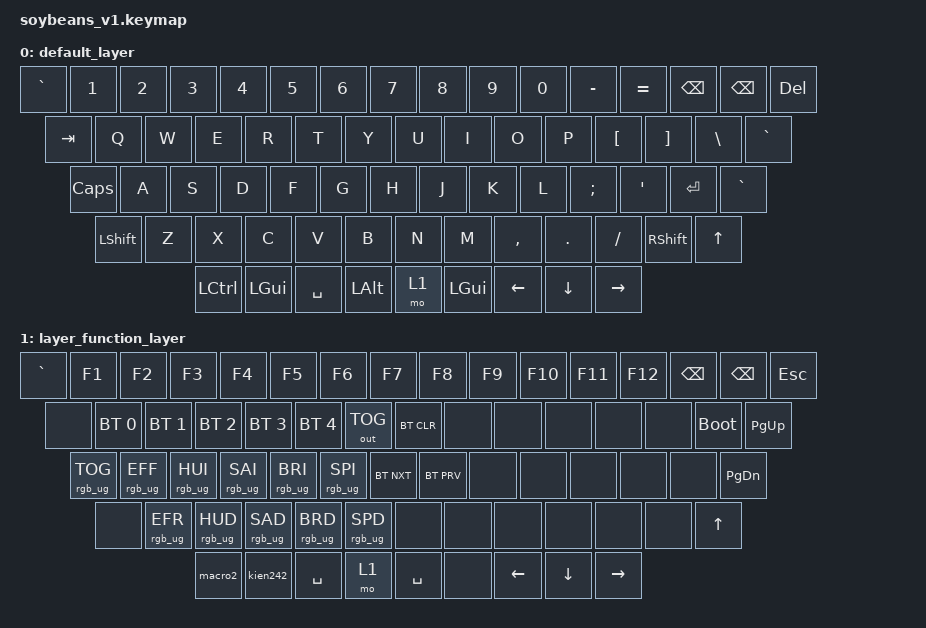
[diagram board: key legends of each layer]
/*
 * Copyright (c) 2020 The ZMK Contributors
 *
 * SPDX-License-Identifier: MIT
 */
/* THIS FILE WAS GENERATED!
 *
 * This file was generated automatically. You may or may not want to
 * edit it directly.
 */

#include <behaviors.dtsi>
#include <dt-bindings/zmk/keys.h>
#include <dt-bindings/zmk/bt.h>
#include <dt-bindings/zmk/outputs.h>
#include <dt-bindings/zmk/rgb.h>

/ {
    macros {
        kien242: kien242 {
            compatible = "zmk,behavior-macro";
            label = "new_macro";
            #binding-cells = <0>;
            bindings = <&kp K &kp I &kp E &kp N &kp NUMBER_2 &kp NUMBER_4 &kp NUMBER_2>;
        };
        macro2: macro2 {
            compatible = "zmk,behavior-macro";
            label = "new_macro";
            #binding-cells = <0>;
            bindings = <&kp B &kp A &kp C>;
        };
    };

    keymap {
        compatible = "zmk,keymap";

        default_layer {
            bindings = <
  &kp GRAVE  &kp N1    &kp N2  &kp N3     &kp N4    &kp N5  &kp N6  &kp N7  &kp N8     &kp N9      &kp N0  &kp MINUS   &kp EQUAL  &kp BSPC   &kp BSPC  &kp DELETE
    &kp TAB   &kp Q     &kp W   &kp E      &kp R     &kp T           &kp Y   &kp U      &kp I       &kp O      &kp P    &kp LBKT  &kp RBKT   &kp BSLH   &kp GRAVE
   &kp CAPS   &kp A     &kp S   &kp D      &kp F     &kp G           &kp H   &kp J      &kp K       &kp L   &kp SEMI    &kp APOS            &kp ENTER   &kp GRAVE
 &kp LSHIFT   &kp Z     &kp X   &kp C      &kp V     &kp B           &kp N   &kp M  &kp COMMA  &kp PERIOD  &kp SLASH  &kp RSHIFT               &kp UP
  &kp LCTRL          &kp LGUI          &kp SPACE  &kp LALT           &mo 1                       &kp LGUI               &kp LEFT             &kp DOWN   &kp RIGHT
            >;
        };

        layer_function_layer {
            bindings = <
       &kp GRAVE           &kp F1           &kp F2           &kp F3           &kp F4           &kp F5  &kp F6        &kp F7      &kp F8  &kp F9  &kp F10  &kp F11   &kp F12  &kp BSPC     &kp BSPC    &kp ESC
           &none     &bt BT_SEL 0     &bt BT_SEL 1     &bt BT_SEL 2     &bt BT_SEL 3     &bt BT_SEL 4          &out OUT_TOG  &bt BT_CLR   &none    &none    &none     &none     &none  &bootloader  &kp PG_UP
 &rgb_ug RGB_TOG  &rgb_ug RGB_EFF  &rgb_ug RGB_HUI  &rgb_ug RGB_SAI  &rgb_ug RGB_BRI  &rgb_ug RGB_SPI            &bt BT_NXT  &bt BT_PRV   &none    &none    &none     &none                  &none  &kp PG_DN
           &none  &rgb_ug RGB_EFR  &rgb_ug RGB_HUD  &rgb_ug RGB_SAD  &rgb_ug RGB_BRD  &rgb_ug RGB_SPD                 &none       &none   &none    &none    &none     &none                 &kp UP
         &macro2                          &kien242                         &kp SPACE            &mo 1             &kp SPACE                        &none           &kp LEFT               &kp DOWN  &kp RIGHT
            >;
        };
    };
};
